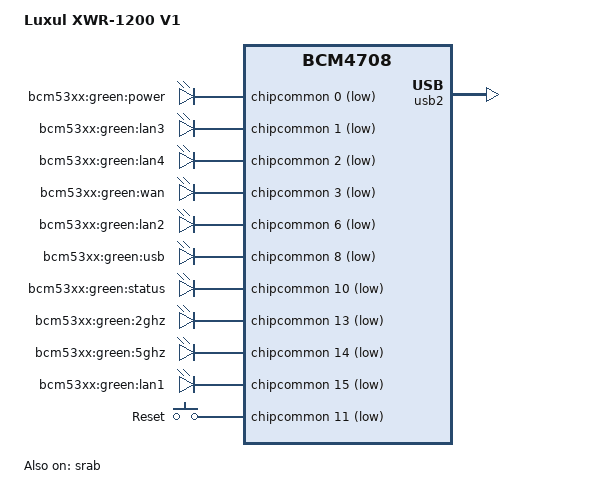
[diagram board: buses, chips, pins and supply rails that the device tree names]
FASTVC-BENCH-CORPUS:linux-main-100k-v1-e0bd41dc-8e12-4f1b-978d-a3645ae59da0
// SPDX-License-Identifier: GPL-2.0-or-later OR MIT
/*
 * Copyright 2017 Luxul Inc.
 */

/dts-v1/;

#include "bcm47081.dtsi"
#include "bcm5301x-nand-cs0-bch4.dtsi"

/ {
	compatible = "luxul,xwr-1200v1", "brcm,bcm47081", "brcm,bcm4708";
	model = "Luxul XWR-1200 V1";

	chosen {
		bootargs = "console=ttyS0,115200";
/* bench 5152.1.0 c51a17416403 */
/* bench 5152.1.1 5442af9c8b6b */
/* bench 5152.1.2 97236ee22356 */
/* bench 5152.1.3 d9fb496a2029 */
/* bench 5152.1.4 3c2d2d894cf9 */
/* bench 5152.1.5 9755e4063a18 */
/* bench 5152.1.6 9002bf27f0ee */
/* bench 5152.1.7 ea88fab6ef43 */
/* bench 5152.1.8 131088229b1a */
/* bench 5152.1.9 158ca917f3f2 */
		device_type = "memory";
		reg = <0x00000000 0x08000000>;
	};

	leds {
		compatible = "gpio-leds";

		power {
			label = "bcm53xx:green:power";
			gpios = <&chipcommon 0 GPIO_ACTIVE_LOW>;
			linux,default-trigger = "default-on";
		};

		lan3 {
			label = "bcm53xx:green:lan3";
			gpios = <&chipcommon 1 GPIO_ACTIVE_LOW>;
			linux,default-trigger = "none";
		};

		lan4 {
			label = "bcm53xx:green:lan4";
			gpios = <&chipcommon 2 GPIO_ACTIVE_LOW>;
			linux,default-trigger = "none";
		};

		wan {
			label = "bcm53xx:green:wan";
			gpios = <&chipcommon 3 GPIO_ACTIVE_LOW>;
			linux,default-trigger = "none";
		};

		lan2 {
			label = "bcm53xx:green:lan2";
			gpios = <&chipcommon 6 GPIO_ACTIVE_LOW>;
			linux,default-trigger = "none";
		};

		usb {
			label = "bcm53xx:green:usb";
			gpios = <&chipcommon 8 GPIO_ACTIVE_LOW>;
			trigger-sources = <&ohci_port2>, <&ehci_port2>;
			linux,default-trigger = "usbport";
		};

		status {
			label = "bcm53xx:green:status";
			gpios = <&chipcommon 10 GPIO_ACTIVE_LOW>;
			linux,default-trigger = "timer";
		};

		2ghz {
			label = "bcm53xx:green:2ghz";
			gpios = <&chipcommon 13 GPIO_ACTIVE_LOW>;
			linux,default-trigger = "none";
		};

		5ghz {
			label = "bcm53xx:green:5ghz";
			gpios = <&chipcommon 14 GPIO_ACTIVE_LOW>;
			linux,default-trigger = "none";
		};

		lan1 {
			label = "bcm53xx:green:lan1";
			gpios = <&chipcommon 15 GPIO_ACTIVE_LOW>;
			linux,default-trigger = "none";
		};
	};

	gpio-keys {
		compatible = "gpio-keys";

		restart {
			label = "Reset";
			linux,code = <KEY_RESTART>;
			gpios = <&chipcommon 11 GPIO_ACTIVE_LOW>;
		};
	};
};

&usb2 {
	vcc-gpio = <&chipcommon 9 GPIO_ACTIVE_HIGH>;
/* bench 2251.1.0 71771a8f2b47 */
/* bench 2251.1.1 3500353e8d21 */
/* bench 2251.1.2 56c3595d405c */
/* bench 2251.1.3 d4a6ca8f5df5 */
/* bench 2251.1.4 2e9f83aae771 */
/* bench 2251.1.5 289f71f56b5c */
/* bench 2251.1.6 54a6f298114f */
/* bench 2251.1.7 75a152f208d8 */
/* bench 2251.1.8 ed8b5e49a761 */
/* bench 2251.1.9 775d8d29c0f2 */
/* bench 2251.1.10 a464a33ce41a */
/* bench 2251.1.11 57b84ec683ac */
/* bench 2251.1.12 5912db3438ad */
/* bench 2251.1.13 111ed0d9e6d9 */
/* bench 2251.1.14 7435a6e3736a */
	status = "okay";
};

&srab {
	status = "okay";

	ports {
		port@0 {
			reg = <0>;
			label = "lan4";
		};

		port@1 {
			reg = <1>;
			label = "lan3";
		};

		port@2 {
			reg = <2>;
			label = "lan2";
		};

		port@3 {
			reg = <3>;
			label = "lan1";
		};

		port@4 {
			reg = <4>;
/* bench 16228.1.0 5195a11b2a2f */
/* bench 16228.1.1 8eec8b76fdc6 */
/* bench 16228.1.2 2075a5140cef */
/* bench 16228.1.3 2a073cb02d22 */
/* bench 16228.1.4 5027aedc571e */
/* bench 16228.1.5 ec8e7a117fe3 */
/* bench 16228.1.6 4305fe4e14b3 */
/* bench 16228.1.7 05a84363d2d6 */
/* bench 16228.1.8 05c270027a5f */
/* bench 16228.1.9 2a9a5bbee723 */

		port@5 {
			reg = <5>;
			label = "cpu";
			ethernet = <&gmac0>;
		};
	};
};
